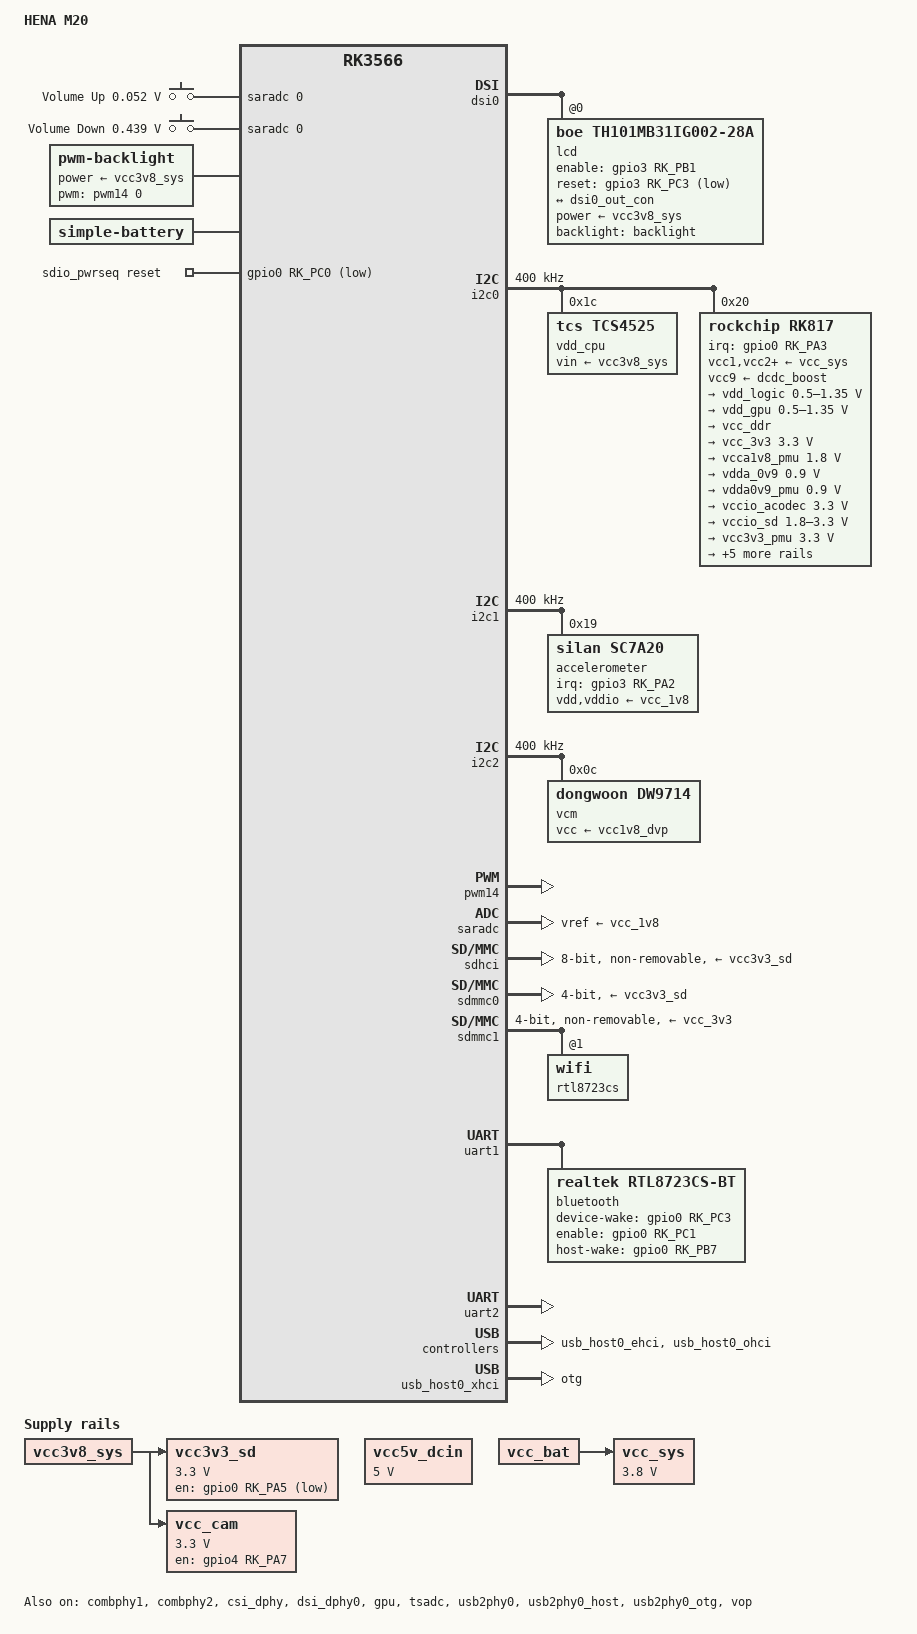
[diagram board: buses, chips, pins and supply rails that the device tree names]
// SPDX-License-Identifier: (GPL-2.0+ OR MIT)

/dts-v1/;
#include <dt-bindings/gpio/gpio.h>
#include <dt-bindings/input/gpio-keys.h>
#include <dt-bindings/input/input.h>
#include <dt-bindings/leds/common.h>
#include <dt-bindings/pinctrl/rockchip.h>
#include <dt-bindings/soc/rockchip,vop2.h>
#include "rk3566.dtsi"

/ {
	model = "HENA M20";
	compatible = "rockchip,rk3566";
	chassis-type = "tablet";

	aliases {
		mmc0 = &sdhci;
		mmc1 = &sdmmc0;
	};

	chosen: chosen {
		stdout-path = "serial2:1500000n8";
	};

	adc-keys {
		compatible = "adc-keys";
		io-channels = <&saradc 0>;
		io-channel-names = "buttons";
		keyup-threshold-microvolt = <1800000>;
		poll-interval = <100>;

		button-vol-up {
			label = "Volume Up";
			linux,code = <KEY_VOLUMEUP>;
			press-threshold-microvolt = <52000>;
		};

		button-vol-down {
			label = "Volume Down";
			linux,code = <KEY_VOLUMEDOWN>;
			press-threshold-microvolt = <439000>;
		};
	};

	backlight: backlight {
		compatible = "pwm-backlight";
		pwms = <&pwm14 0 25000 0>;
		brightness-levels = <20 220>;
		num-interpolated-steps = <200>;
		default-brightness-level = <100>;
		power-supply = <&vcc3v8_sys>;
	};

	battery: battery {
		compatible = "simple-battery";
		charge-full-design-microamp-hours = <6000000>;
		charge-term-current-microamp = <300000>;
		constant-charge-current-max-microamp = <2000000>;
		constant-charge-voltage-max-microvolt = <4300000>;
		voltage-max-design-microvolt = <4350000>;
		voltage-min-design-microvolt = <3400000>;

		ocv-capacity-celsius = <20>;
		ocv-capacity-table-0 = <4322000 100>, <4250000 95>, <4192000 90>, <4136000 85>,
				       <4080000 80>, <4022000 75>, <3972000 70>, <3928000 65>,
				       <3885000 60>, <3833000 55>, <3798000 50>, <3780000 45>,
				       <3776000 40>, <3773000 35>, <3755000 30>, <3706000 25>,
				       <3640000 20>, <3589000 15>, <3535000 10>, <3492000 5>,
				       <3400000 0>;
	};

	sdio_pwrseq: sdio-pwrseq {
		compatible = "mmc-pwrseq-simple";
		clocks = <&rk817 1>;
		clock-names = "ext_clock";
		pinctrl-names = "default";
		pinctrl-0 = <&wifi_reg_on_h>;
		post-power-on-delay-ms = <100>;
		power-off-delay-us = <5000000>;
		reset-gpios = <&gpio0 RK_PC0 GPIO_ACTIVE_LOW>;
	};

	vcc5v_dcin: vcc5v-dcin-regulator {
		compatible = "regulator-fixed";
		regulator-name = "vcc5v_dcin";
		regulator-always-on;
		regulator-boot-on;
		regulator-min-microvolt = <5000000>;
		regulator-max-microvolt = <5000000>;
	};

	vcc3v3_sd: regulator-vcc3v3-sd {
		compatible = "regulator-fixed";
		gpio = <&gpio0 RK_PA5 GPIO_ACTIVE_HIGH>;
		pinctrl-names = "default";
		pinctrl-0 = <&vcc_sd_h>;
		regulator-name = "vcc3v3_sd";
		regulator-min-microvolt = <3300000>;
		regulator-max-microvolt = <3300000>;
		vin-supply = <&vcc3v8_sys>;
	};

	vcc_bat: regulator-vcc-bat {
		compatible = "regulator-fixed";
		regulator-name = "vcc_bat";
		regulator-always-on;
		regulator-boot-on;
	};

	vcc_sys: vcc3v8_sys: vcc3v8-sys-regulator {
		compatible = "regulator-fixed";
		regulator-name = "vcc3v8_sys";
		regulator-always-on;
		regulator-boot-on;
		regulator-min-microvolt = <3800000>;
		regulator-max-microvolt = <3800000>;
		vin-supply = <&vcc_bat>;
	};

	vcc_cam: vcc-cam-regulator {
		compatible = "regulator-fixed";
		enable-active-high;
		gpio = <&gpio4 RK_PA7 GPIO_ACTIVE_HIGH>; // bsp
		pinctrl-names = "default";
		pinctrl-0 = <&vcc_cam_en>;
		regulator-name = "vcc_cam";
		regulator-min-microvolt = <3300000>;
		regulator-max-microvolt = <3300000>;
		vin-supply = <&vcc3v8_sys>;

		regulator-state-mem {
			regulator-off-in-suspend;
		};
	};
};

&combphy1 {
	status = "okay";
};

&combphy2 {
	status = "okay";
};

&cpu0 {
	cpu-supply = <&vdd_cpu>;
};

&cpu1 {
	cpu-supply = <&vdd_cpu>;
};

&cpu2 {
	cpu-supply = <&vdd_cpu>;
};

&cpu3 {
	cpu-supply = <&vdd_cpu>;
};

&cru {
	assigned-clocks = <&pmucru CLK_RTC_32K>, <&cru PLL_GPLL>,
			  <&pmucru PLL_PPLL>, <&cru PLL_VPLL>;
	assigned-clock-rates = <32768>, <1200000000>, <200000000>, <500000000>;
	assigned-clock-parents = <&pmucru CLK_RTC32K_FRAC>;
};

&csi_dphy {
	status = "okay";
};

&dsi0 {
	status = "okay";
	clock-master;
	#address-cells = <1>;
	#size-cells = <0>;

	lcd: panel@0 {
		compatible = "boe,th101mb31ig002-28a";
		reg = <0>;
		backlight = <&backlight>;
		pinctrl-0 = <&lcd_reset>, <&lcd_pwren_h>;
		enable-gpios = <&gpio3 RK_PB1 GPIO_ACTIVE_HIGH>; // bsp
		reset-gpios = <&gpio3 RK_PC3 GPIO_ACTIVE_LOW>; // bsp
		rotation = <90>;
		power-supply = <&vcc3v8_sys>;

		port@0 {
			panel_in_dsi: endpoint@1 {
				remote-endpoint = <&dsi0_out_con>;
			};
		};
	};
};

&dsi0_in {
	dsi0_in_vp1: endpoint {
		remote-endpoint = <&vp1_out_dsi0>;
	};
};

&dsi0_out {
	dsi0_out_con: endpoint {
		remote-endpoint = <&panel_in_dsi>;
	};
};

&dsi_dphy0 {
	status = "okay";
};

&gpu {
	mali-supply = <&vdd_gpu>;
	status = "okay";
};

&i2c0 {
	clock-frequency = <400000>;
	status = "okay";

	vdd_cpu: regulator@1c {
		compatible = "tcs,tcs4525";
		reg = <0x1c>;
		fcs,suspend-voltage-selector = <1>;
		regulator-name = "vdd_cpu";
		regulator-min-microvolt = <712500>; // bsp
		regulator-max-microvolt = <1390000>; // bsp
		regulator-ramp-delay = <2300>;
		regulator-always-on;
		regulator-boot-on;
		vin-supply = <&vcc3v8_sys>;

		regulator-state-mem {
			regulator-off-in-suspend;
		};
	};

	rk817: pmic@20 {
		compatible = "rockchip,rk817";
		reg = <0x20>;
		interrupt-parent = <&gpio0>;
		interrupts = <RK_PA3 IRQ_TYPE_LEVEL_LOW>;
		assigned-clocks = <&cru I2S1_MCLKOUT_TX>;
		assigned-clock-parents = <&cru CLK_I2S1_8CH_TX>;
		clock-names = "mclk";
		clocks = <&cru I2S1_MCLKOUT_TX>;
		clock-output-names = "rk808-clkout1", "rk808-clkout2";
		#clock-cells = <1>;
		pinctrl-names = "default";
		pinctrl-0 = <&pmic_int_l>, <&i2s1m0_mclk>;
		system-power-controller;
		#sound-dai-cells = <0>;
		wakeup-source;

		vcc1-supply = <&vcc_sys>;
		vcc2-supply = <&vcc_sys>;
		vcc3-supply = <&vcc_sys>;
		vcc4-supply = <&vcc_sys>;
		vcc5-supply = <&vcc_sys>;
		vcc6-supply = <&vcc_sys>;
		vcc7-supply = <&vcc_sys>;
		vcc8-supply = <&vcc_sys>;
		vcc9-supply = <&dcdc_boost>;

		regulators {
			vdd_logic: DCDC_REG1 {
				regulator-always-on;
				regulator-boot-on;
				regulator-min-microvolt = <500000>;
				regulator-max-microvolt = <1350000>;
				regulator-ramp-delay = <6001>;
				regulator-initial-mode = <0x2>;
				regulator-name = "vdd_logic"; // bsp
				regulator-state-mem {
					regulator-off-in-suspend;
					regulator-suspend-microvolt = <900000>;
				};
			};

			vdd_gpu: DCDC_REG2 {
				regulator-always-on;
				regulator-boot-on;
				regulator-min-microvolt = <500000>;
				regulator-max-microvolt = <1350000>;
				regulator-ramp-delay = <6001>;
				regulator-initial-mode = <0x2>;
				regulator-name = "vdd_gpu"; // bsp
					regulator-state-mem {
					regulator-off-in-suspend;
				};
			};

			vcc_ddr: DCDC_REG3 {
				regulator-always-on;
				regulator-boot-on;
				regulator-initial-mode = <0x2>;
				regulator-name = "vcc_ddr";
				regulator-state-mem {
					regulator-on-in-suspend;
				};
			};

			vcc_3v3: DCDC_REG4 {
				regulator-always-on;
				regulator-boot-on;
				regulator-min-microvolt = <3300000>;
				regulator-max-microvolt = <3300000>;
				regulator-initial-mode = <0x2>;
				regulator-name = "vcc_3v3"; // bsp
				regulator-state-mem {
					regulator-on-in-suspend;
					regulator-suspend-microvolt = <3300000>;
				};
			};

			vcca1v8_pmu: LDO_REG1 {
				regulator-always-on;
				regulator-boot-on;
				regulator-min-microvolt = <1800000>;
				regulator-max-microvolt = <1800000>;
				regulator-name = "vcca1v8_pmu"; // bsp
				regulator-state-mem {
					regulator-on-in-suspend;
					regulator-suspend-microvolt = <1800000>;
				};
			};

			vdda_0v9: LDO_REG2 {
				regulator-always-on;
				regulator-boot-on;
				regulator-min-microvolt = <900000>;
				regulator-max-microvolt = <900000>;
				regulator-name = "vdda_0v9";
				regulator-state-mem {
					regulator-off-in-suspend;
				};
			};

			vdda0v9_pmu: LDO_REG3 {
				regulator-always-on;
				regulator-boot-on;
				regulator-min-microvolt = <900000>;
				regulator-max-microvolt = <900000>;
				regulator-name = "vdda0v9_pmu"; // bsp
				regulator-state-mem {
					regulator-on-in-suspend;
					regulator-suspend-microvolt = <900000>;
				};
			};

			vccio_acodec: LDO_REG4 {
				regulator-always-on;
				regulator-boot-on;
				regulator-min-microvolt = <3300000>;
				regulator-max-microvolt = <3300000>;
				regulator-name = "vccio_acodec"; // bsp
				regulator-state-mem {
					regulator-off-in-suspend;
				};
			};

			vccio_sd: LDO_REG5 {
				regulator-always-on;
				regulator-boot-on;
				regulator-min-microvolt = <1800000>;
				regulator-max-microvolt = <3300000>;
				regulator-name = "vccio_sd"; // bsp
				regulator-state-mem {
					regulator-off-in-suspend;
				};
			};

			vcc3v3_pmu: LDO_REG6 {
				regulator-always-on;
				regulator-boot-on;
				regulator-min-microvolt = <3300000>;
				regulator-max-microvolt = <3300000>;
				regulator-name = "vcc3v3_pmu"; // bsp
				regulator-state-mem {
					regulator-on-in-suspend;
					regulator-suspend-microvolt = <3300000>;
				};
			};

			vcc_1v8: LDO_REG7 {
				regulator-always-on;
				regulator-boot-on;
				regulator-min-microvolt = <1800000>;
				regulator-max-microvolt = <1800000>;
				regulator-name = "vcc_1v8"; // bsp
				regulator-state-mem {
					regulator-off-in-suspend;
				};
			};

			vcc1v8_dvp: LDO_REG8 {
				regulator-always-on;
				regulator-boot-on;
				regulator-min-microvolt = <1800000>;
				regulator-max-microvolt = <1800000>;
				regulator-name = "vcc1v8_dvp"; // bsp
				regulator-state-mem {
					regulator-off-in-suspend;
				};
			};

			vcc2v8_dvp: LDO_REG9 {
				regulator-always-on;
				regulator-boot-on;
				regulator-min-microvolt = <2800000>;
				regulator-max-microvolt = <2800000>;
				regulator-name = "vcc2v8_dvp"; // bsp
				regulator-state-mem {
					regulator-off-in-suspend;
				};
			};

			dcdc_boost: BOOST {
				regulator-always-on;
				regulator-boot-on;
				regulator-min-microvolt = <5000000>;
				regulator-max-microvolt = <5000000>;
				regulator-name = "boost";
				regulator-state-mem {
					regulator-off-in-suspend;
				};
			};

			otg_switch: OTG_SWITCH {
				regulator-name = "otg_switch";
				regulator-state-mem {
					regulator-off-in-suspend;
				};
			};
		};

		charger {
			monitored-battery = <&battery>;
			rockchip,resistor-sense-micro-ohms = <10000>;
			rockchip,sleep-enter-current-microamp = <300000>;
			rockchip,sleep-filter-current-microamp = <100000>;
		};
	};
};

// touchscreen
&i2c1 {
	clock-frequency = <400000>;
	pinctrl-names = "default";
	status = "okay";

	accelerometer@19 {
		compatible = "silan,sc7a20";
		reg = <0x19>;
		interrupt-parent = <&gpio3>;
		interrupts = <RK_PA2 IRQ_TYPE_LEVEL_LOW>;
		pinctrl-names = "default";
		pinctrl-0 = <&gsensor_int_l>;
		st,drdy-int-pin = <1>;
		vdd-supply = <&vcc_1v8>;
		vddio-supply = <&vcc_1v8>;
		mount-matrix = "1", "0", "0",
			       "0", "0", "1",
			       "0", "1", "0";
	};
/*
	accelerometer@18 {
		compatible = "silan,sc7a20";
		reg = <0x18>;
		interrupt-parent = <&gpio3>;
		interrupts = <RK_PA2 IRQ_TYPE_LEVEL_LOW>;
		pinctrl-0 = <&gsensor_int_l>;
		pinctrl-names = "default";
		st,drdy-int-pin = <1>;
		vdd-supply = <&vcc_3v3>;
		vddio-supply = <&vcc_3v3>;
	};
*/
};

// camera
&i2c2 {
	clock-frequency = <400000>;
	pinctrl-0 = <&i2c2m1_xfer>;
	pinctrl-names = "default";
	status = "okay";

	vcm@c {
		compatible = "dongwoon,dw9714";
		reg = <0x0c>;
		vcc-supply = <&vcc1v8_dvp>;
	};
};

&pinctrl {
	bluetooth {
		bt_reg_on_h: bt-reg-on-h {
			rockchip,pins = <0 RK_PC1 RK_FUNC_GPIO &pcfg_pull_none>; // bsp
		};

		bt_wake_host_h: bt-wake-host-h {
			rockchip,pins = <0 RK_PB7 RK_FUNC_GPIO &pcfg_pull_none>; //bsp
		};

		bt_host_wake_h: bt-host-wake-h {
			rockchip,pins = <0 RK_PC3 RK_FUNC_GPIO &pcfg_pull_none>; // bsp
		};
	};

	cam {
		vcc_cam_en: vcc_cam_en {
			rockchip,pins = <4 RK_PA7 RK_FUNC_GPIO &pcfg_pull_none>; // bsp
		};
	};

	gsensor {
		gsensor_int_l: gsensor-int-l {
			rockchip,pins = <3 RK_PA2 RK_FUNC_GPIO &pcfg_pull_up>; // bsp
		};
	};

	lcd {
		lcd_pwren_h: lcd-pwren-h {
			rockchip,pins = <3 RK_PB1 RK_FUNC_GPIO &pcfg_pull_none>; // bsp
		};

		lcd_reset: lcd-reset {
			rockchip,pins = <3 RK_PC3 RK_FUNC_GPIO &pcfg_pull_none>; // bsp
		};
	};

	tp {
		tp_gpio: tp-gpio {
			rockchip,pins = <0 RK_PB0 RK_FUNC_GPIO &pcfg_pull_up>, // bsp
							<0 RK_PC2 RK_FUNC_GPIO &pcfg_pull_none>;
		};
	};

	headphone {
		hp_det: hp-det {
			rockchip,pins = <3 RK_PA1 RK_FUNC_GPIO &pcfg_pull_down>; // bsp
		};
	};

	pmic {
		pmic_int_l: pmic-int-l {
			rockchip,pins = <0 RK_PA3 RK_FUNC_GPIO &pcfg_pull_up>;
		};
	};

	vcc_sd {
		vcc_sd_h: vcc-sd-h {
			rockchip,pins = <0 RK_PA5 RK_FUNC_GPIO &pcfg_pull_none>; // bsp
		};
	};

	wifi {
		wifi_host_wake_h: wifi-host-wake-h {
			rockchip,pins = <0 RK_PC4 RK_FUNC_GPIO &pcfg_pull_none>; // bsp
		};

		wifi_reg_on_h: wifi-reg-on-h {
			rockchip,pins = <0 RK_PC0 RK_FUNC_GPIO &pcfg_pull_none>; // bsp
		};
	};
};

&pmu_io_domains {
	pmuio1-supply = <&vcc3v3_pmu>;
	pmuio2-supply = <&vcca1v8_pmu>;
	vccio1-supply = <&vccio_acodec>;
	vccio2-supply = <&vcc_1v8>;
	vccio3-supply = <&vccio_sd>;
	vccio4-supply = <&vcca1v8_pmu>;
	vccio5-supply = <&vcc_3v3>;
	vccio6-supply = <&vcc1v8_dvp>;
	vccio7-supply = <&vcc_3v3>;
	status = "okay";
};

&pwm14 {
	status = "okay";
};

&saradc {
	vref-supply = <&vcc_1v8>;
	status = "okay";
};

&sdhci {
	bus-width = <8>;
	max-frequency = <200000000>;
	// mmc-hs200-1_8v;
	mmc-hs400-1_8v;
	mmc-hs400-enhanced-strobe;
	non-removable;
	pinctrl-names = "default";
	pinctrl-0 = <&emmc_bus8 &emmc_clk &emmc_cmd &emmc_datastrobe>;
	vmmc-supply = <&vcc3v3_sd>;
	vqmmc-supply = <&vcc_1v8>;
	status = "okay";
};

&sdmmc0 {
	bus-width = <4>;
	cap-sd-highspeed;
	disable-wp;
	pinctrl-names = "default";
	pinctrl-0 = <&sdmmc0_bus4 &sdmmc0_clk &sdmmc0_cmd &sdmmc0_det>;
	sd-uhs-sdr104;
	vmmc-supply = <&vcc3v3_sd>;
	vqmmc-supply = <&vccio_sd>;
	status = "okay";
};
/*
&sdmmc1 {
	bus-width = <4>;
	cap-sd-highspeed;
	cap-sdio-irq;
	keep-power-in-suspend;
	non-removable;
	pinctrl-names = "default";
	pinctrl-0 = <&sdmmc1_bus4 &sdmmc1_cmd &sdmmc1_clk>;
	sd-uhs-sdr104;
	vqmmc-supply = <&vcca1v8_pmu>;
	status = "okay";
};
*/
&sdmmc1 {
	/* WiFi & BT combo module AMPAK AP6398S */
	#address-cells = <1>;
	#size-cells = <0>;
	bus-width = <4>;
	clock-frequency = <150000000>;
	cap-sdio-irq;
	cap-sd-highspeed;
	// sd-uhs-sdr104;
	sd-uhs-sdr50;
	keep-power-in-suspend;
	mmc-pwrseq = <&sdio_pwrseq>;
	non-removable;
	pinctrl-names = "default";
	pinctrl-0 = <&sdmmc1_bus4 &sdmmc1_cmd &sdmmc1_clk>;
	vmmc-supply = <&vcc_3v3>;
	vqmmc-supply = <&vcca1v8_pmu>;
	status = "okay";

	rtl8723cs: wifi@1 {
		reg = <1>;
	};
};

&tsadc {
	rockchip,hw-tshut-mode = <1>;
	rockchip,hw-tshut-polarity = <0>;
	status = "okay";
};

&uart1 {
	pinctrl-0 = <&uart1m0_xfer>, <&uart1m0_ctsn>, <&uart1m0_rtsn>;
	pinctrl-names = "default";
	uart-has-rtscts;
	status = "okay";

	bluetooth: bluetooth {
		compatible = "realtek,rtl8723cs-bt";
		device-wake-gpios = <&gpio0 RK_PC3 GPIO_ACTIVE_HIGH>; // bsp
		enable-gpios = <&gpio0 RK_PC1 GPIO_ACTIVE_HIGH>; // bsp
		host-wake-gpios = <&gpio0 RK_PB7 GPIO_ACTIVE_HIGH>; // bsp
	};
};

&uart2 {
	status = "okay";
};

&usb_host0_ehci {
	status = "okay";
};

&usb_host0_ohci {
	status = "okay";
};

&usb_host0_xhci {
	extcon = <&usb2phy0>;
	dr_mode = "otg";
	status = "okay";
};

&usb2phy0 {
	status = "okay";
};

&usb2phy0_host {
	status = "okay";
};

&usb2phy0_otg {
	status = "okay";
};

&vop {
	assigned-clocks = <&cru DCLK_VOP0>, <&cru DCLK_VOP1>;
	assigned-clock-parents = <&pmucru PLL_HPLL>, <&cru PLL_VPLL>;
	status = "okay";
};

&vop_mmu {
	status = "okay";
};

&vp1 {
	vp1_out_dsi0: endpoint@ROCKCHIP_VOP2_EP_MIPI0 {
		reg = <ROCKCHIP_VOP2_EP_MIPI0>;
		remote-endpoint = <&dsi0_in_vp1>;
	};
};
